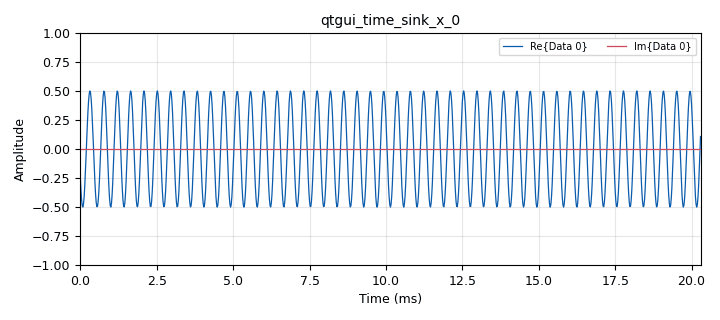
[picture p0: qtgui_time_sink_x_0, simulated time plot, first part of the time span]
options:
  parameters:
    author: Barry Duggan
    description: FSK_example
    generate_options: qt_gui
    id: FSK_example
    output_language: python
    title: FSK_example
  states: {}

blocks:
- name: baud
  id: variable
  parameters:
    value: 1/0.022
  states: {}
- name: center
  id: variable
  parameters:
    value: '2210'
  states: {}
- name: delay
  id: variable_qtgui_range
  parameters:
    label: Delay
    start: '0'
    step: '1'
    stop: '250'
    value: '145'
  states: {}
- name: fsk_deviation
  id: variable
  parameters:
    value: '170'
  states: {}
- name: inp_amp
  id: variable
  parameters:
    value: ((center+(fsk_deviation/2))/vco_max)-vco_offset
  states: {}
- name: repeat
  id: variable
  parameters:
    value: (int)(samp_rate*0.022)
  states: {}
- name: samp_rate
  id: variable
  parameters:
    value: '48000'
  states: {}
- name: sps
  id: variable
  parameters:
    value: '11'
  states: {}
- name: sq_lvl
  id: variable_qtgui_range
  parameters:
    label: Squelch
    start: '-100'
    step: '5'
    stop: '0'
    value: '-70'
  states: {}
- name: vco_max
  id: variable
  parameters:
    value: '2500'
  states: {}
- name: vco_offset
  id: variable
  parameters:
    value: (center-(fsk_deviation/2))/vco_max
  states: {}
- name: analog_random_source_x_0
  id: analog_random_source_x
  parameters:
    max: '256'
    min: '0'
    num_samps: '1024'
    repeat: 'True'
    type: byte
  states: {}
- name: blocks_add_const_vxx_0
  id: blocks_add_const_vxx
  parameters:
    comment: vco_offset
    const: vco_offset
    type: float
  states: {}
- name: blocks_float_to_complex_0
  id: blocks_float_to_complex
  parameters: {}
  states: {}
- name: blocks_multiply_const_vxx_0
  id: blocks_multiply_const_vxx
  parameters:
    comment: inp_amp
    const: inp_amp
    type: float
  states: {}
- name: blocks_null_source_0
  id: blocks_null_source
  parameters:
    type: float
  states: {}
- name: blocks_repeat_0
  id: blocks_repeat
  parameters:
    interp: repeat
    type: byte
  states: {}
- name: blocks_throttle_0
  id: blocks_throttle
  parameters:
    samples_per_second: samp_rate
    type: byte
  states: {}
- name: blocks_uchar_to_float_0
  id: blocks_uchar_to_float
  parameters: {}
  states: {}
- name: blocks_unpack_k_bits_bb_0
  id: blocks_unpack_k_bits_bb
  parameters:
    k: '8'
  states: {}
- name: blocks_vco_f_0
  id: blocks_vco_f
  parameters:
    amplitude: '0.5'
    samp_rate: samp_rate
    sensitivity: '15708'
  states: {}
- name: qtgui_time_sink_x_0
  id: qtgui_time_sink_x
  parameters:
    ctrlpanel: 'True'
    size: '16384'
    srate: samp_rate
    type: complex
  states: {}
- name: uhd_usrp_sink_0
  id: uhd_usrp_sink
  parameters:
    ant0: '"TX/RX"'
    bw0: 200e3
    center_freq0: 830e6
    gain0: '0'
    samp_rate: samp_rate
    sync: none
    type: fc32
  states: {}
- name: virtual_sink_0
  id: virtual_sink
  parameters:
    stream_id: '"xmt_data"'
  states: {}
- name: virtual_source_0
  id: virtual_source
  parameters:
    stream_id: '"xmt_data"'
  states: {}

connections:
- [analog_random_source_x_0, '0', blocks_unpack_k_bits_bb_0, '0']
- [blocks_add_const_vxx_0, '0', blocks_vco_f_0, '0']
- [blocks_float_to_complex_0, '0', qtgui_time_sink_x_0, '0']
- [blocks_float_to_complex_0, '0', uhd_usrp_sink_0, '0']
- [blocks_multiply_const_vxx_0, '0', blocks_add_const_vxx_0, '0']
- [blocks_null_source_0, '0', blocks_float_to_complex_0, '1']
- [blocks_repeat_0, '0', blocks_throttle_0, '0']
- [blocks_throttle_0, '0', blocks_uchar_to_float_0, '0']
- [blocks_uchar_to_float_0, '0', virtual_sink_0, '0']
- [blocks_unpack_k_bits_bb_0, '0', blocks_repeat_0, '0']
- [blocks_vco_f_0, '0', blocks_float_to_complex_0, '0']
- [virtual_source_0, '0', blocks_multiply_const_vxx_0, '0']

metadata:
  file_format: 1
